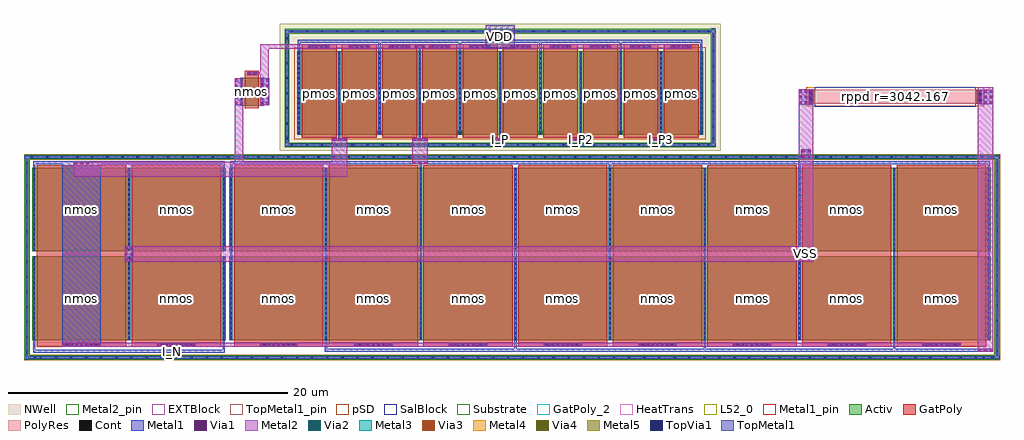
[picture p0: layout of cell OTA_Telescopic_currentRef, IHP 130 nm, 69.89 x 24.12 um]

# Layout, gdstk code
import gdstk
lib = gdstk.Library(unit=1e-6, precision=1e-09)
def R(c, l, rs):  # rectangles x0, y0, x1, y1
    for r in rs: c.add(gdstk.rectangle(r[:2], r[2:], *l))
def A(c, l, x, y, w, h, nx, ny, dx, dy):  # array of equal rectangles
    R(c, l, [(x+i*dx, y+j*dy, x+i*dx+w, y+j*dy+h) for i in range(nx) for j in range(ny)])
Activ = (1, 0)
GatPoly = (5, 0)
GatPoly_2 = (5, 2)
Cont = (6, 0)
Metal1 = (8, 0)
Metal1_pin = (8, 2)
Metal2 = (10, 0)
Metal2_pin = (10, 2)
pSD = (14, 0)
Via1 = (19, 0)
SalBlock = (28, 0)
Via2 = (29, 0)
Metal3 = (30, 0)
NWell = (31, 0)
Substrate = (40, 0)
Via3 = (49, 0)
Metal4 = (50, 0)
HeatTrans = (51, 0)
L52_0 = (52, 0)
Via4 = (66, 0)
Metal5 = (67, 0)
EXTBlock = (111, 0)
TopVia1 = (125, 0)
TopMetal1 = (126, 0)
TopMetal1_pin = (126, 2)
PolyRes = (128, 0)

ota_telescopic_currentre = lib.new_cell('OTA_Telescopic_currentRef')
A(ota_telescopic_currentre, Activ, 65.47, -5.17, 0.34, 1.08, 1, 13, 0, 1.08)
A(ota_telescopic_currentre, Activ, 66.1, -5.17, 1.08, 0.34, 63, 1, 1.08, 0)
A(ota_telescopic_currentre, Activ, 134.96, -5.08, 0.34, 1.08, 1, 13, 0, 1.08)
A(ota_telescopic_currentre, Activ, 66.03, -3.75, 0.3, 0.3, 3, 2, 6.78, 6.36)
A(ota_telescopic_currentre, Activ, 80.14, -3.75, 13.86, 6, 4, 2, 13.56, 6.36)
A(ota_telescopic_currentre, Activ, 80.14, -3.75, 0.3, 0.3, 3, 2, 6.78, 6.36)
A(ota_telescopic_currentre, Activ, 93.7, -3.75, 0.3, 0.3, 3, 2, 6.78, 6.36)
A(ota_telescopic_currentre, Activ, 107.26, -3.75, 0.3, 0.3, 3, 2, 6.78, 6.36)
A(ota_telescopic_currentre, Activ, 120.82, -3.75, 0.3, 0.3, 3, 2, 6.78, 6.36)
A(ota_telescopic_currentre, Activ, 65.47, 9.2, 1.08, 0.34, 64, 1, 1.08, 0)
A(ota_telescopic_currentre, Activ, 84.1, 10.05, 1.08, 0.34, 28, 2, 1.08, 8.14)
A(ota_telescopic_currentre, Activ, 84.1, 10.15, 0.34, 1.08, 1, 7, 0, 1.08)
A(ota_telescopic_currentre, Activ, 84.99, 10.94, 6.06, 6, 5, 1, 5.76, 0)
A(ota_telescopic_currentre, Activ, 84.99, 10.94, 0.3, 0.3, 3, 1, 2.88, 0)
A(ota_telescopic_currentre, Activ, 90.75, 10.94, 0.3, 0.3, 3, 1, 2.88, 0)
A(ota_telescopic_currentre, Activ, 96.51, 10.94, 0.3, 0.3, 3, 1, 2.88, 0)
A(ota_telescopic_currentre, Activ, 102.27, 10.94, 0.3, 0.3, 3, 1, 2.88, 0)
A(ota_telescopic_currentre, Activ, 108.03, 10.94, 0.3, 0.3, 3, 1, 2.88, 0)
A(ota_telescopic_currentre, Activ, 114.635, 11.015, 0.34, 1.08, 1, 7, 0, 1.08)
R(ota_telescopic_currentre, Activ, [(65.69,-5.17,66.77,-4.83), (133.62,-5.17,134.7,-4.83), (134.22,-5.17,135.3,-4.83), (66.03,-3.75,79.89,2.25), (66.03,2.61,79.89,8.61), (65.47,8.37,65.81,9.45), (134.96,8.37,135.3,9.45), (134.22,9.2,135.3,9.54), (113.9,10.05,114.98,10.39), (114.635,10.15,114.975,11.23), (80.915,13.045,81.215,13.345), (80.915,13.045,82.595,15.045), (82.295,13.045,82.595,13.345), (84.1,17.35,84.44,18.43), (113.9,18.19,114.98,18.53)])
A(ota_telescopic_currentre, GatPoly, 80.48, -4.23, 6.4, 0.3, 8, 1, 6.78, 0)
A(ota_telescopic_currentre, GatPoly, 82.51, -4.23, 2.34, 0.3, 8, 1, 6.78, 0)
A(ota_telescopic_currentre, GatPoly, 80.48, -3.93, 6.4, 6.36, 8, 2, 6.78, 6.36)
A(ota_telescopic_currentre, GatPoly, 85.33, 10.76, 2.5, 6.36, 3, 1, 2.88, 0)
A(ota_telescopic_currentre, GatPoly, 91.09, 10.76, 2.5, 6.36, 3, 1, 2.88, 0)
A(ota_telescopic_currentre, GatPoly, 96.85, 10.76, 2.5, 6.36, 3, 1, 2.88, 0)
A(ota_telescopic_currentre, GatPoly, 102.61, 10.76, 2.5, 6.36, 3, 1, 2.88, 0)
A(ota_telescopic_currentre, GatPoly, 85.33, 17.12, 2.5, 0.3, 10, 1, 2.88, 0)
A(ota_telescopic_currentre, GatPoly, 85.91, 17.12, 1.32, 0.3, 10, 1, 2.88, 0)
R(ota_telescopic_currentre, GatPoly, [(66.37,-4.23,72.77,-3.93), (68.4,-4.23,70.74,-3.93), (73.15,-4.23,79.55,-3.93), (75.18,-4.23,77.52,-3.93), (66.37,-3.93,72.77,2.43), (73.15,-3.93,79.55,2.43), (66.37,2.43,72.77,8.79), (73.15,2.43,79.55,8.79), (85.33,10.76,87.83,17.12), (108.37,10.76,110.87,17.12), (111.25,10.76,113.75,17.12), (81.255,12.865,82.255,15.225), (121.65,13.17,121.88,14.17), (121.88,13.17,122.08,14.17), (133.58,13.17,133.78,14.17), (133.78,13.17,134.01,14.17), (81.255,15.225,82.255,15.525), (81.45,15.225,82.09,15.525)])
A(ota_telescopic_currentre, GatPoly_2, 80.48, -3.93, 6.4, 6.36, 4, 2, 13.56, 6.36)
R(ota_telescopic_currentre, GatPoly_2, [(66.37,-3.93,72.77,2.43), (66.37,2.43,72.77,8.79), (81.255,12.865,82.255,15.225)])
A(ota_telescopic_currentre, Cont, 66.56, -5.08, 0.16, 0.16, 63, 1, 1.08, 0)
A(ota_telescopic_currentre, Cont, 65.56, -4.71, 0.16, 0.16, 1, 13, 0, 1.08)
A(ota_telescopic_currentre, Cont, 135.05, -4.62, 0.16, 0.16, 1, 13, 0, 1.08)
A(ota_telescopic_currentre, Cont, 68.47, -4.16, 0.16, 0.16, 7, 1, 0.34, 0)
A(ota_telescopic_currentre, Cont, 75.25, -4.16, 0.16, 0.16, 7, 1, 0.34, 0)
A(ota_telescopic_currentre, Cont, 82.58, -4.16, 0.16, 0.16, 7, 1, 0.34, 0)
A(ota_telescopic_currentre, Cont, 89.36, -4.16, 0.16, 0.16, 7, 1, 0.34, 0)
A(ota_telescopic_currentre, Cont, 96.14, -4.16, 0.16, 0.16, 7, 1, 0.34, 0)
A(ota_telescopic_currentre, Cont, 102.92, -4.16, 0.16, 0.16, 7, 1, 0.34, 0)
A(ota_telescopic_currentre, Cont, 109.7, -4.16, 0.16, 0.16, 7, 1, 0.34, 0)
A(ota_telescopic_currentre, Cont, 116.48, -4.16, 0.16, 0.16, 7, 1, 0.34, 0)
A(ota_telescopic_currentre, Cont, 123.26, -4.16, 0.16, 0.16, 7, 1, 0.34, 0)
A(ota_telescopic_currentre, Cont, 130.04, -4.16, 0.16, 0.16, 7, 1, 0.34, 0)
A(ota_telescopic_currentre, Cont, 66.1, -3.68, 0.16, 0.16, 3, 4, 6.78, 0.355)
A(ota_telescopic_currentre, Cont, 80.21, -3.68, 0.16, 0.16, 3, 4, 6.78, 0.355)
A(ota_telescopic_currentre, Cont, 93.77, -3.68, 0.16, 0.16, 3, 4, 6.78, 0.355)
A(ota_telescopic_currentre, Cont, 107.33, -3.68, 0.16, 0.16, 3, 4, 6.78, 0.355)
A(ota_telescopic_currentre, Cont, 120.89, -3.68, 0.16, 0.16, 3, 4, 6.78, 0.355)
A(ota_telescopic_currentre, Cont, 66.1, -2.255, 0.16, 0.16, 3, 4, 6.78, 0.355)
A(ota_telescopic_currentre, Cont, 80.21, -2.255, 0.16, 0.16, 3, 4, 6.78, 0.355)
A(ota_telescopic_currentre, Cont, 93.77, -2.255, 0.16, 0.16, 3, 4, 6.78, 0.355)
A(ota_telescopic_currentre, Cont, 107.33, -2.255, 0.16, 0.16, 3, 4, 6.78, 0.355)
A(ota_telescopic_currentre, Cont, 120.89, -2.255, 0.16, 0.16, 3, 4, 6.78, 0.355)
A(ota_telescopic_currentre, Cont, 66.1, -0.83, 0.16, 0.16, 3, 4, 6.78, 0.355)
A(ota_telescopic_currentre, Cont, 80.21, -0.83, 0.16, 0.16, 3, 4, 6.78, 0.355)
A(ota_telescopic_currentre, Cont, 93.77, -0.83, 0.16, 0.16, 3, 4, 6.78, 0.355)
A(ota_telescopic_currentre, Cont, 107.33, -0.83, 0.16, 0.16, 3, 4, 6.78, 0.355)
A(ota_telescopic_currentre, Cont, 120.89, -0.83, 0.16, 0.16, 3, 4, 6.78, 0.355)
A(ota_telescopic_currentre, Cont, 66.1, 0.595, 0.16, 0.16, 3, 4, 6.78, 0.355)
A(ota_telescopic_currentre, Cont, 80.21, 0.595, 0.16, 0.16, 3, 4, 6.78, 0.355)
A(ota_telescopic_currentre, Cont, 93.77, 0.595, 0.16, 0.16, 3, 4, 6.78, 0.355)
A(ota_telescopic_currentre, Cont, 107.33, 0.595, 0.16, 0.16, 3, 4, 6.78, 0.355)
A(ota_telescopic_currentre, Cont, 120.89, 0.595, 0.16, 0.16, 3, 4, 6.78, 0.355)
A(ota_telescopic_currentre, Cont, 66.1, 2.02, 0.16, 0.16, 3, 2, 6.78, 0.66)
A(ota_telescopic_currentre, Cont, 80.21, 2.02, 0.16, 0.16, 3, 2, 6.78, 0.66)
A(ota_telescopic_currentre, Cont, 93.77, 2.02, 0.16, 0.16, 3, 2, 6.78, 0.66)
A(ota_telescopic_currentre, Cont, 107.33, 2.02, 0.16, 0.16, 3, 2, 6.78, 0.66)
A(ota_telescopic_currentre, Cont, 120.89, 2.02, 0.16, 0.16, 3, 2, 6.78, 0.66)
A(ota_telescopic_currentre, Cont, 66.1, 3.035, 0.16, 0.16, 3, 3, 6.78, 0.355)
A(ota_telescopic_currentre, Cont, 80.21, 3.035, 0.16, 0.16, 3, 3, 6.78, 0.355)
A(ota_telescopic_currentre, Cont, 93.77, 3.035, 0.16, 0.16, 3, 3, 6.78, 0.355)
A(ota_telescopic_currentre, Cont, 107.33, 3.035, 0.16, 0.16, 3, 3, 6.78, 0.355)
A(ota_telescopic_currentre, Cont, 120.89, 3.035, 0.16, 0.16, 3, 3, 6.78, 0.355)
A(ota_telescopic_currentre, Cont, 66.1, 4.105, 0.16, 0.16, 3, 4, 6.78, 0.355)
A(ota_telescopic_currentre, Cont, 80.21, 4.105, 0.16, 0.16, 3, 4, 6.78, 0.355)
A(ota_telescopic_currentre, Cont, 93.77, 4.105, 0.16, 0.16, 3, 4, 6.78, 0.355)
A(ota_telescopic_currentre, Cont, 107.33, 4.105, 0.16, 0.16, 3, 4, 6.78, 0.355)
A(ota_telescopic_currentre, Cont, 120.89, 4.105, 0.16, 0.16, 3, 4, 6.78, 0.355)
A(ota_telescopic_currentre, Cont, 66.1, 5.53, 0.16, 0.16, 3, 4, 6.78, 0.355)
A(ota_telescopic_currentre, Cont, 80.21, 5.53, 0.16, 0.16, 3, 4, 6.78, 0.355)
A(ota_telescopic_currentre, Cont, 93.77, 5.53, 0.16, 0.16, 3, 4, 6.78, 0.355)
A(ota_telescopic_currentre, Cont, 107.33, 5.53, 0.16, 0.16, 3, 4, 6.78, 0.355)
A(ota_telescopic_currentre, Cont, 120.89, 5.53, 0.16, 0.16, 3, 4, 6.78, 0.355)
A(ota_telescopic_currentre, Cont, 66.1, 6.955, 0.16, 0.16, 3, 4, 6.78, 0.355)
A(ota_telescopic_currentre, Cont, 80.21, 6.955, 0.16, 0.16, 3, 4, 6.78, 0.355)
A(ota_telescopic_currentre, Cont, 93.77, 6.955, 0.16, 0.16, 3, 4, 6.78, 0.355)
A(ota_telescopic_currentre, Cont, 107.33, 6.955, 0.16, 0.16, 3, 4, 6.78, 0.355)
A(ota_telescopic_currentre, Cont, 120.89, 6.955, 0.16, 0.16, 3, 4, 6.78, 0.355)
A(ota_telescopic_currentre, Cont, 66.1, 8.38, 0.16, 0.16, 3, 1, 6.78, 0)
A(ota_telescopic_currentre, Cont, 80.21, 8.38, 0.16, 0.16, 3, 1, 6.78, 0)
A(ota_telescopic_currentre, Cont, 93.77, 8.38, 0.16, 0.16, 3, 1, 6.78, 0)
A(ota_telescopic_currentre, Cont, 107.33, 8.38, 0.16, 0.16, 3, 1, 6.78, 0)
A(ota_telescopic_currentre, Cont, 120.89, 8.38, 0.16, 0.16, 3, 1, 6.78, 0)
A(ota_telescopic_currentre, Cont, 65.93, 9.29, 0.16, 0.16, 64, 1, 1.08, 0)
A(ota_telescopic_currentre, Cont, 84.56, 10.14, 0.16, 0.16, 28, 2, 1.08, 8.14)
A(ota_telescopic_currentre, Cont, 84.19, 10.61, 0.16, 0.16, 1, 7, 0, 1.08)
A(ota_telescopic_currentre, Cont, 85.06, 11.01, 0.16, 0.16, 3, 4, 2.88, 0.355)
A(ota_telescopic_currentre, Cont, 90.82, 11.01, 0.16, 0.16, 3, 4, 2.88, 0.355)
A(ota_telescopic_currentre, Cont, 96.58, 11.01, 0.16, 0.16, 3, 4, 2.88, 0.355)
A(ota_telescopic_currentre, Cont, 102.34, 11.01, 0.16, 0.16, 3, 4, 2.88, 0.355)
A(ota_telescopic_currentre, Cont, 108.1, 11.01, 0.16, 0.16, 3, 4, 2.88, 0.355)
A(ota_telescopic_currentre, Cont, 114.725, 11.475, 0.16, 0.16, 1, 7, 0, 1.08)
A(ota_telescopic_currentre, Cont, 85.06, 12.435, 0.16, 0.16, 3, 4, 2.88, 0.355)
A(ota_telescopic_currentre, Cont, 90.82, 12.435, 0.16, 0.16, 3, 4, 2.88, 0.355)
A(ota_telescopic_currentre, Cont, 96.58, 12.435, 0.16, 0.16, 3, 4, 2.88, 0.355)
A(ota_telescopic_currentre, Cont, 102.34, 12.435, 0.16, 0.16, 3, 4, 2.88, 0.355)
A(ota_telescopic_currentre, Cont, 108.1, 12.435, 0.16, 0.16, 3, 4, 2.88, 0.355)
A(ota_telescopic_currentre, Cont, 80.985, 13.115, 0.16, 0.16, 1, 6, 0, 0.34)
A(ota_telescopic_currentre, Cont, 82.365, 13.115, 0.16, 0.16, 1, 6, 0, 0.34)
A(ota_telescopic_currentre, Cont, 85.06, 13.86, 0.16, 0.16, 3, 4, 2.88, 0.355)
A(ota_telescopic_currentre, Cont, 90.82, 13.86, 0.16, 0.16, 3, 4, 2.88, 0.355)
A(ota_telescopic_currentre, Cont, 96.58, 13.86, 0.16, 0.16, 3, 4, 2.88, 0.355)
A(ota_telescopic_currentre, Cont, 102.34, 13.86, 0.16, 0.16, 3, 4, 2.88, 0.355)
A(ota_telescopic_currentre, Cont, 108.1, 13.86, 0.16, 0.16, 3, 4, 2.88, 0.355)
A(ota_telescopic_currentre, Cont, 85.06, 15.285, 0.16, 0.16, 3, 4, 2.88, 0.355)
A(ota_telescopic_currentre, Cont, 90.82, 15.285, 0.16, 0.16, 3, 4, 2.88, 0.355)
A(ota_telescopic_currentre, Cont, 96.58, 15.285, 0.16, 0.16, 3, 4, 2.88, 0.355)
A(ota_telescopic_currentre, Cont, 102.34, 15.285, 0.16, 0.16, 3, 4, 2.88, 0.355)
A(ota_telescopic_currentre, Cont, 108.1, 15.285, 0.16, 0.16, 3, 4, 2.88, 0.355)
A(ota_telescopic_currentre, Cont, 85.06, 16.71, 0.16, 0.16, 3, 1, 2.88, 0)
A(ota_telescopic_currentre, Cont, 90.82, 16.71, 0.16, 0.16, 3, 1, 2.88, 0)
A(ota_telescopic_currentre, Cont, 96.58, 16.71, 0.16, 0.16, 3, 1, 2.88, 0)
A(ota_telescopic_currentre, Cont, 102.34, 16.71, 0.16, 0.16, 3, 1, 2.88, 0)
A(ota_telescopic_currentre, Cont, 108.1, 16.71, 0.16, 0.16, 3, 1, 2.88, 0)
A(ota_telescopic_currentre, Cont, 85.98, 17.19, 0.16, 0.16, 4, 1, 0.34, 0)
A(ota_telescopic_currentre, Cont, 88.86, 17.19, 0.16, 0.16, 4, 1, 0.34, 0)
A(ota_telescopic_currentre, Cont, 91.74, 17.19, 0.16, 0.16, 4, 1, 0.34, 0)
A(ota_telescopic_currentre, Cont, 94.62, 17.19, 0.16, 0.16, 4, 1, 0.34, 0)
A(ota_telescopic_currentre, Cont, 97.5, 17.19, 0.16, 0.16, 4, 1, 0.34, 0)
A(ota_telescopic_currentre, Cont, 100.38, 17.19, 0.16, 0.16, 4, 1, 0.34, 0)
A(ota_telescopic_currentre, Cont, 103.26, 17.19, 0.16, 0.16, 4, 1, 0.34, 0)
A(ota_telescopic_currentre, Cont, 106.14, 17.19, 0.16, 0.16, 4, 1, 0.34, 0)
A(ota_telescopic_currentre, Cont, 109.02, 17.19, 0.16, 0.16, 4, 1, 0.34, 0)
A(ota_telescopic_currentre, Cont, 111.9, 17.19, 0.16, 0.16, 4, 1, 0.34, 0)
R(ota_telescopic_currentre, Cont, [(66.15,-5.08,66.31,-4.92), (134.08,-5.08,134.24,-4.92), (134.68,-5.08,134.84,-4.92), (65.56,8.83,65.72,8.99), (135.05,8.83,135.21,8.99), (134.68,9.29,134.84,9.45), (114.36,10.14,114.52,10.3), (114.725,10.61,114.885,10.77), (121.72,13.24,121.88,14.1), (133.78,13.24,133.94,14.1), (81.52,15.295,81.68,15.455), (81.86,15.295,82.02,15.455), (84.19,17.81,84.35,17.97), (114.36,18.28,114.52,18.44)])
A(ota_telescopic_currentre, Metal1, 65.56, -5.17, 0.16, 1.08, 1, 13, 0, 1.08)
A(ota_telescopic_currentre, Metal1, 66.1, -5.08, 1.08, 0.16, 63, 1, 1.08, 0)
A(ota_telescopic_currentre, Metal1, 135.05, -5.08, 0.16, 1.08, 1, 13, 0, 1.08)
A(ota_telescopic_currentre, Metal1, 86.99, -4.365, 0.16, 0.615, 4, 1, 13.56, 0)
A(ota_telescopic_currentre, Metal1, 82.305, -4.185, 2.75, 0.21, 8, 1, 6.78, 0)
A(ota_telescopic_currentre, Metal1, 66.1, -3.75, 0.16, 6, 3, 2, 6.78, 6.36)
A(ota_telescopic_currentre, Metal1, 80.21, -3.75, 0.16, 6, 3, 2, 6.78, 6.36)
A(ota_telescopic_currentre, Metal1, 93.77, -3.75, 0.16, 6, 3, 2, 6.78, 6.36)
A(ota_telescopic_currentre, Metal1, 107.33, -3.75, 0.16, 6, 3, 2, 6.78, 6.36)
A(ota_telescopic_currentre, Metal1, 120.89, -3.75, 0.16, 6, 3, 2, 6.78, 6.36)
A(ota_telescopic_currentre, Metal1, 80.21, 2.25, 0.16, 0.36, 9, 1, 6.78, 0)
A(ota_telescopic_currentre, Metal1, 80.21, 8.61, 0.16, 0.22, 5, 1, 13.56, 0)
A(ota_telescopic_currentre, Metal1, 65.47, 9.29, 1.08, 0.16, 64, 1, 1.08, 0)
A(ota_telescopic_currentre, Metal1, 84.1, 10.14, 1.08, 0.16, 28, 2, 1.08, 8.14)
A(ota_telescopic_currentre, Metal1, 84.19, 10.15, 0.16, 1.08, 1, 7, 0, 1.08)
A(ota_telescopic_currentre, Metal1, 87.465, 10.51, 1.11, 0.21, 5, 1, 5.76, 0)
A(ota_telescopic_currentre, Metal1, 87.94, 10.72, 0.16, 0.22, 5, 1, 5.76, 0)
A(ota_telescopic_currentre, Metal1, 114.725, 11.015, 0.16, 1.08, 1, 7, 0, 1.08)
A(ota_telescopic_currentre, Metal1, 85.06, 16.94, 0.16, 0.615, 6, 1, 5.76, 0)
A(ota_telescopic_currentre, Metal1, 85.81, 17.165, 1.52, 0.21, 10, 1, 2.88, 0)
R(ota_telescopic_currentre, Metal1, [(65.69,-5.08,66.77,-4.92), (133.62,-5.08,134.7,-4.92), (134.22,-5.08,135.3,-4.92), (66.1,-4.67,79.82,-4.45), (86.99,-4.585,134.83,-4.365), (133.72,-4.58,134.83,-4.37), (66.1,-4.45,66.26,-3.75), (79.66,-4.45,79.82,-3.75), (68.195,-4.185,70.945,-3.975), (74.975,-4.185,77.725,-3.975), (68.195,-3.975,70.945,8.83), (72.65,1.875,73.27,2.985), (72.88,2.25,73.04,2.61), (65.56,8.37,65.72,9.45), (135.05,8.37,135.21,9.45), (66.1,8.61,66.26,8.83), (79.66,8.61,79.82,8.83), (66.1,8.83,79.82,9.05), (80.21,8.83,134.61,9.05), (69.015,8.835,70.125,9.045), (93.225,8.835,94.335,9.045), (121.095,9.29,121.795,9.91), (134.22,9.29,135.3,9.45), (113.9,10.14,114.98,10.3), (114.725,10.15,114.885,11.23), (85.06,10.94,85.22,16.94), (85.06,10.94,85.22,16.94), (87.94,10.94,88.1,16.94), (87.94,10.94,88.1,16.94), (90.82,10.94,90.98,16.94), (90.82,10.94,90.98,16.94), (90.82,10.94,90.98,16.94), (93.7,10.94,93.86,16.94), (93.7,10.94,93.86,16.94), (96.58,10.94,96.74,16.94), (96.58,10.94,96.74,16.94), (96.58,10.94,96.74,16.94), (99.46,10.94,99.62,16.94), (99.46,10.94,99.62,16.94), (102.34,10.94,102.5,16.94), (102.34,10.94,102.5,16.94), (102.34,10.94,102.5,16.94), (105.22,10.94,105.38,16.94), (105.22,10.94,105.38,16.94), (108.1,10.94,108.26,16.94), (108.1,10.94,108.26,16.94), (108.1,10.94,108.26,16.94), (110.98,10.94,111.14,16.94), (110.98,10.94,111.14,16.94), (113.86,10.94,114.02,16.94), (80.985,13.045,81.145,15.045), (82.365,13.045,82.525,15.045), (80.525,13.08,81.145,15.01), (82.365,13.08,82.985,15.01), (120.92,13.11,121.95,14.22), (133.72,13.15,134.83,14.18), (121.65,13.19,121.95,14.15), (133.71,13.19,134.01,14.15), (81.42,15.27,82.12,15.48), (93.7,16.94,93.86,17.375), (93.43,17.165,94.13,17.375), (84.19,17.35,84.35,18.43), (85.06,17.555,114.02,17.775), (98.78,17.66,100.3,18.28), (113.9,18.28,114.98,18.44)])
A(ota_telescopic_currentre, Metal1_pin, 65.56, -5.17, 0.16, 1.08, 1, 13, 0, 1.08)
A(ota_telescopic_currentre, Metal1_pin, 66.1, -5.08, 1.08, 0.16, 63, 1, 1.08, 0)
A(ota_telescopic_currentre, Metal1_pin, 135.05, -5.08, 0.16, 1.08, 1, 13, 0, 1.08)
A(ota_telescopic_currentre, Metal1_pin, 80.21, -3.75, 0.16, 6, 8, 2, 6.78, 6.36)
A(ota_telescopic_currentre, Metal1_pin, 65.47, 9.29, 1.08, 0.16, 64, 1, 1.08, 0)
A(ota_telescopic_currentre, Metal1_pin, 84.1, 10.14, 1.08, 0.16, 28, 2, 1.08, 8.14)
A(ota_telescopic_currentre, Metal1_pin, 84.19, 10.15, 0.16, 1.08, 1, 7, 0, 1.08)
A(ota_telescopic_currentre, Metal1_pin, 114.725, 11.015, 0.16, 1.08, 1, 7, 0, 1.08)
R(ota_telescopic_currentre, Metal1_pin, [(65.69,-5.08,66.77,-4.92), (133.62,-5.08,134.7,-4.92), (134.22,-5.08,135.3,-4.92), (76.05,-4.635,76.225,-4.485), (66.1,-3.75,66.26,2.25), (72.88,-3.75,73.04,2.25), (66.1,2.61,66.26,8.61), (72.88,2.61,73.04,8.61), (65.56,8.37,65.72,9.45), (135.05,8.37,135.21,9.45), (134.22,9.29,135.3,9.45), (113.9,10.14,114.98,10.3), (114.725,10.15,114.885,11.23), (80.985,13.045,81.145,15.045), (82.365,13.045,82.525,15.045), (121.65,13.19,121.95,14.15), (133.71,13.19,134.01,14.15), (84.19,17.35,84.35,18.43), (113.9,18.28,114.98,18.44)])
A(ota_telescopic_currentre, Metal2, 82.305, -4.18, 2.75, 0.2, 8, 1, 6.78, 0)
A(ota_telescopic_currentre, Metal2, 87.465, 10.515, 1.11, 0.2, 5, 1, 5.76, 0)
A(ota_telescopic_currentre, Metal2, 85.81, 17.17, 1.52, 0.2, 10, 1, 2.88, 0)
R(ota_telescopic_currentre, Metal2, [(133.72,-4.585,134.83,14.35), (133.72,-4.575,134.83,-4.375), (68.195,-4.23,132.515,-3.93), (68.195,-4.18,70.945,-3.98), (74.975,-4.18,77.725,-3.98), (72.65,1.875,121.945,2.985), (72.655,1.875,73.265,2.985), (120.92,1.875,121.945,13.11), (69.015,7.94,88.57,9.04), (87.465,7.94,88.575,10.515), (93.225,8.83,94.335,10.72), (69.015,8.84,70.125,9.04), (93.225,8.84,94.335,9.04), (80.53,9.04,81.14,13.08), (121.095,9.295,121.795,9.905), (80.53,13.08,81.14,15.01), (82.37,13.08,82.98,15.01), (120.925,13.11,121.945,14.22), (133.72,13.155,134.83,14.175), (82.37,15.01,82.98,17.42), (81.42,15.275,82.12,15.475), (82.12,15.275,82.37,15.475), (82.37,17.12,113.25,17.42), (93.43,17.17,94.13,17.37), (98.78,17.665,100.3,18.275)])
R(ota_telescopic_currentre, Metal2_pin, [(120.92,1.875,121.945,2.98), (99.475,10.52,99.665,10.71), (105.24,10.52,105.43,10.71), (111.015,10.52,111.205,10.71)])
A(ota_telescopic_currentre, pSD, 65.44, -5.2, 0.4, 1.14, 1, 13, 0, 1.08)
A(ota_telescopic_currentre, pSD, 66.07, -5.2, 1.14, 0.4, 63, 1, 1.08, 0)
A(ota_telescopic_currentre, pSD, 134.93, -5.11, 0.4, 1.14, 1, 13, 0, 1.08)
A(ota_telescopic_currentre, pSD, 65.44, 9.17, 1.14, 0.4, 64, 1, 1.08, 0)
A(ota_telescopic_currentre, pSD, 84.81, 10.64, 6.42, 6.6, 5, 1, 5.76, 0)
R(ota_telescopic_currentre, pSD, [(65.66,-5.2,66.8,-4.8), (133.59,-5.2,134.73,-4.8), (134.19,-5.2,135.33,-4.8), (65.44,8.34,65.84,9.48), (134.93,8.34,135.33,9.48), (134.19,9.17,135.33,9.57), (121.47,12.99,122.08,14.35), (122.08,12.99,133.58,14.35), (133.58,12.99,134.19,14.35)])
A(ota_telescopic_currentre, Via1, 133.77, -4.57, 0.19, 0.19, 3, 2, 0.41, 17.73)
A(ota_telescopic_currentre, Via1, 68.245, -4.175, 0.19, 0.19, 7, 1, 0.41, 0)
A(ota_telescopic_currentre, Via1, 75.025, -4.175, 0.19, 0.19, 7, 1, 0.41, 0)
A(ota_telescopic_currentre, Via1, 82.355, -4.175, 0.19, 0.19, 7, 1, 0.41, 0)
A(ota_telescopic_currentre, Via1, 89.135, -4.175, 0.19, 0.19, 7, 1, 0.41, 0)
A(ota_telescopic_currentre, Via1, 95.915, -4.175, 0.19, 0.19, 7, 1, 0.41, 0)
A(ota_telescopic_currentre, Via1, 102.695, -4.175, 0.19, 0.19, 7, 1, 0.41, 0)
A(ota_telescopic_currentre, Via1, 109.475, -4.175, 0.19, 0.19, 7, 1, 0.41, 0)
A(ota_telescopic_currentre, Via1, 116.255, -4.175, 0.19, 0.19, 7, 1, 0.41, 0)
A(ota_telescopic_currentre, Via1, 123.035, -4.175, 0.19, 0.19, 7, 1, 0.41, 0)
A(ota_telescopic_currentre, Via1, 129.815, -4.175, 0.19, 0.19, 7, 1, 0.41, 0)
A(ota_telescopic_currentre, Via1, 72.66, 1.925, 0.19, 0.19, 1, 3, 0, 0.41)
A(ota_telescopic_currentre, Via1, 73.07, 1.925, 0.19, 0.19, 1, 3, 0, 0.41)
A(ota_telescopic_currentre, Via1, 69.065, 8.845, 0.19, 0.19, 3, 1, 0.41, 0)
A(ota_telescopic_currentre, Via1, 93.275, 8.845, 0.19, 0.19, 3, 2, 0.41, 1.675)
A(ota_telescopic_currentre, Via1, 87.515, 10.52, 0.19, 0.19, 3, 1, 0.41, 0)
A(ota_telescopic_currentre, Via1, 99.035, 10.52, 0.19, 0.19, 3, 1, 0.41, 0)
A(ota_telescopic_currentre, Via1, 104.795, 10.52, 0.19, 0.19, 3, 1, 0.41, 0)
A(ota_telescopic_currentre, Via1, 110.555, 10.52, 0.19, 0.19, 3, 1, 0.41, 0)
A(ota_telescopic_currentre, Via1, 80.535, 13.13, 0.19, 0.19, 1, 5, 0, 0.41)
A(ota_telescopic_currentre, Via1, 80.945, 13.13, 0.19, 0.19, 1, 5, 0, 0.41)
A(ota_telescopic_currentre, Via1, 82.375, 13.13, 0.19, 0.19, 1, 5, 0, 0.41)
A(ota_telescopic_currentre, Via1, 82.785, 13.13, 0.19, 0.19, 1, 5, 0, 0.41)
A(ota_telescopic_currentre, Via1, 120.93, 13.16, 0.19, 0.19, 3, 3, 0.41, 0.41)
A(ota_telescopic_currentre, Via1, 133.77, 13.57, 0.19, 0.19, 3, 2, 0.41, 0.41)
A(ota_telescopic_currentre, Via1, 85.86, 17.175, 0.19, 0.19, 4, 1, 0.41, 0)
A(ota_telescopic_currentre, Via1, 88.74, 17.175, 0.19, 0.19, 4, 1, 0.41, 0)
A(ota_telescopic_currentre, Via1, 91.62, 17.175, 0.19, 0.19, 4, 1, 0.41, 0)
A(ota_telescopic_currentre, Via1, 94.5, 17.175, 0.19, 0.19, 4, 1, 0.41, 0)
A(ota_telescopic_currentre, Via1, 97.38, 17.175, 0.19, 0.19, 4, 1, 0.41, 0)
A(ota_telescopic_currentre, Via1, 100.26, 17.175, 0.19, 0.19, 4, 1, 0.41, 0)
A(ota_telescopic_currentre, Via1, 103.14, 17.175, 0.19, 0.19, 4, 1, 0.41, 0)
A(ota_telescopic_currentre, Via1, 106.02, 17.175, 0.19, 0.19, 4, 1, 0.41, 0)
A(ota_telescopic_currentre, Via1, 108.9, 17.175, 0.19, 0.19, 4, 1, 0.41, 0)
A(ota_telescopic_currentre, Via1, 111.78, 17.175, 0.19, 0.19, 4, 1, 0.41, 0)
A(ota_telescopic_currentre, Via1, 98.83, 17.67, 0.19, 0.19, 4, 2, 0.41, 0.41)
R(ota_telescopic_currentre, Via1, [(121.145,9.3,121.335,9.49), (121.555,9.3,121.745,9.49), (121.145,9.71,121.335,9.9), (121.555,9.71,121.745,9.9), (81.47,15.28,81.66,15.47), (81.88,15.28,82.07,15.47), (93.48,17.175,93.67,17.365), (93.89,17.175,94.08,17.365)])
R(ota_telescopic_currentre, SalBlock, [(122.08,12.97,133.58,14.37)])
A(ota_telescopic_currentre, Via2, 98.83, 17.67, 0.19, 0.19, 4, 2, 0.41, 0.41)
R(ota_telescopic_currentre, Metal3, [(98.78,17.665,100.3,18.275)])
A(ota_telescopic_currentre, NWell, 83.76, 9.81, 1.76, 0.82, 28, 2, 1.08, 8.14)
A(ota_telescopic_currentre, NWell, 83.86, 9.81, 0.82, 1.76, 1, 7, 0, 1.08)
A(ota_telescopic_currentre, NWell, 84.68, 10.63, 6.68, 6.62, 5, 1, 5.76, 0)
A(ota_telescopic_currentre, NWell, 114.395, 10.675, 0.82, 1.76, 1, 7, 0, 1.08)
R(ota_telescopic_currentre, NWell, [(83.76,9.81,115.32,18.915), (113.56,9.81,115.32,10.63), (114.395,9.81,115.215,11.57), (83.86,17.01,84.68,18.77), (113.56,17.95,115.32,18.77)])
A(ota_telescopic_currentre, Substrate, 90.75, 10.94, 0.3, 0.3, 5, 1, 5.76, 0)
A(ota_telescopic_currentre, Via3, 98.83, 17.67, 0.19, 0.19, 4, 2, 0.41, 0.41)
R(ota_telescopic_currentre, Metal4, [(98.78,17.665,100.3,18.275)])
A(ota_telescopic_currentre, HeatTrans, 80.48, -3.93, 6.4, 6.36, 8, 2, 6.78, 6.36)
A(ota_telescopic_currentre, HeatTrans, 85.33, 10.76, 2.5, 6.36, 10, 1, 2.88, 0)
R(ota_telescopic_currentre, HeatTrans, [(66.37,-3.93,72.77,2.43), (73.15,-3.93,79.55,2.43), (66.37,2.43,72.77,8.79), (73.15,2.43,79.55,8.79), (81.255,12.865,82.255,15.225)])
R(ota_telescopic_currentre, L52_0, [(122.08,13.17,133.58,14.17)])
A(ota_telescopic_currentre, Via4, 98.83, 17.67, 0.19, 0.19, 4, 2, 0.41, 0.41)
R(ota_telescopic_currentre, Metal5, [(98.78,17.66,100.3,18.28)])
R(ota_telescopic_currentre, EXTBlock, [(122.08,12.97,133.58,14.37), (121.47,12.99,122.08,14.35), (133.58,12.99,134.19,14.35)])
R(ota_telescopic_currentre, TopVia1, [(98.91,17.76,99.33,18.18), (99.75,17.76,100.17,18.18)])
R(ota_telescopic_currentre, TopMetal1, [(98.49,17.15,100.59,18.79)])
R(ota_telescopic_currentre, TopMetal1_pin, [(98.49,17.15,100.59,18.79)])
R(ota_telescopic_currentre, PolyRes, [(122.08,13.17,133.58,14.17)])
ota_telescopic_currentre.add(gdstk.Label('nmos', (81.755,14.045), layer=63, texttype=0))
ota_telescopic_currentre.add(gdstk.Label('pmos', (86.58,13.94), layer=63, texttype=0))
ota_telescopic_currentre.add(gdstk.Label('pmos', (92.34,13.94), layer=63, texttype=0))
ota_telescopic_currentre.add(gdstk.Label('pmos', (98.1,13.94), layer=63, texttype=0))
ota_telescopic_currentre.add(gdstk.Label('pmos', (103.86,13.94), layer=63, texttype=0))
ota_telescopic_currentre.add(gdstk.Label('pmos', (109.62,13.94), layer=63, texttype=0))
ota_telescopic_currentre.add(gdstk.Label('rppd r=3042.167', (127.83,13.67), layer=63, texttype=0))
ota_telescopic_currentre.add(gdstk.Label('nmos', (83.68,-0.75), layer=63, texttype=0))
ota_telescopic_currentre.add(gdstk.Label('nmos', (83.68,5.61), layer=63, texttype=0))
ota_telescopic_currentre.add(gdstk.Label('nmos', (97.24,-0.75), layer=63, texttype=0))
ota_telescopic_currentre.add(gdstk.Label('nmos', (97.24,5.61), layer=63, texttype=0))
ota_telescopic_currentre.add(gdstk.Label('nmos', (110.8,-0.75), layer=63, texttype=0))
ota_telescopic_currentre.add(gdstk.Label('nmos', (110.8,5.61), layer=63, texttype=0))
ota_telescopic_currentre.add(gdstk.Label('nmos', (124.36,-0.75), layer=63, texttype=0))
ota_telescopic_currentre.add(gdstk.Label('nmos', (124.36,5.61), layer=63, texttype=0))
ota_telescopic_currentre.add(gdstk.Label('nmos', (69.57,5.61), layer=63, texttype=0))
ota_telescopic_currentre.add(gdstk.Label('nmos', (69.57,-0.75), layer=63, texttype=0))
ota_telescopic_currentre.add(gdstk.Label('nmos', (81.755,14.045), layer=51, texttype=0))
ota_telescopic_currentre.add(gdstk.Label('pmos', (86.58,13.94), layer=51, texttype=0))
ota_telescopic_currentre.add(gdstk.Label('pmos', (89.46,13.94), layer=51, texttype=0))
ota_telescopic_currentre.add(gdstk.Label('pmos', (92.34,13.94), layer=51, texttype=0))
ota_telescopic_currentre.add(gdstk.Label('pmos', (95.22,13.94), layer=51, texttype=0))
ota_telescopic_currentre.add(gdstk.Label('pmos', (98.1,13.94), layer=51, texttype=0))
ota_telescopic_currentre.add(gdstk.Label('pmos', (100.98,13.94), layer=51, texttype=0))
ota_telescopic_currentre.add(gdstk.Label('pmos', (103.86,13.94), layer=51, texttype=0))
ota_telescopic_currentre.add(gdstk.Label('pmos', (106.74,13.94), layer=51, texttype=0))
ota_telescopic_currentre.add(gdstk.Label('pmos', (109.62,13.94), layer=51, texttype=0))
ota_telescopic_currentre.add(gdstk.Label('pmos', (112.5,13.94), layer=51, texttype=0))
ota_telescopic_currentre.add(gdstk.Label('nmos', (83.68,-0.75), layer=51, texttype=0))
ota_telescopic_currentre.add(gdstk.Label('nmos', (90.46,-0.75), layer=51, texttype=0))
ota_telescopic_currentre.add(gdstk.Label('nmos', (83.68,5.61), layer=51, texttype=0))
ota_telescopic_currentre.add(gdstk.Label('nmos', (90.46,5.61), layer=51, texttype=0))
ota_telescopic_currentre.add(gdstk.Label('nmos', (97.24,-0.75), layer=51, texttype=0))
ota_telescopic_currentre.add(gdstk.Label('nmos', (104.02,-0.75), layer=51, texttype=0))
ota_telescopic_currentre.add(gdstk.Label('nmos', (97.24,5.61), layer=51, texttype=0))
ota_telescopic_currentre.add(gdstk.Label('nmos', (104.02,5.61), layer=51, texttype=0))
ota_telescopic_currentre.add(gdstk.Label('nmos', (110.8,-0.75), layer=51, texttype=0))
ota_telescopic_currentre.add(gdstk.Label('nmos', (117.58,-0.75), layer=51, texttype=0))
ota_telescopic_currentre.add(gdstk.Label('nmos', (110.8,5.61), layer=51, texttype=0))
ota_telescopic_currentre.add(gdstk.Label('nmos', (117.58,5.61), layer=51, texttype=0))
ota_telescopic_currentre.add(gdstk.Label('nmos', (124.36,-0.75), layer=51, texttype=0))
ota_telescopic_currentre.add(gdstk.Label('nmos', (131.14,-0.75), layer=51, texttype=0))
ota_telescopic_currentre.add(gdstk.Label('nmos', (124.36,5.61), layer=51, texttype=0))
ota_telescopic_currentre.add(gdstk.Label('nmos', (131.14,5.61), layer=51, texttype=0))
ota_telescopic_currentre.add(gdstk.Label('nmos', (69.57,5.61), layer=51, texttype=0))
ota_telescopic_currentre.add(gdstk.Label('nmos', (76.35,5.61), layer=51, texttype=0))
ota_telescopic_currentre.add(gdstk.Label('nmos', (69.57,-0.75), layer=51, texttype=0))
ota_telescopic_currentre.add(gdstk.Label('nmos', (76.35,-0.75), layer=51, texttype=0))
ota_telescopic_currentre.add(gdstk.Label('rppd', (127.83,13.67), layer=52, texttype=0))
ota_telescopic_currentre.add(gdstk.Label('VDD', (99.485,18.015), layer=126, texttype=25))
ota_telescopic_currentre.add(gdstk.Label('VSS', (121.42,2.43), layer=10, texttype=25))
ota_telescopic_currentre.add(gdstk.Label('I_P', (99.57,10.615), layer=10, texttype=25))
ota_telescopic_currentre.add(gdstk.Label('I_P2', (105.335,10.615), layer=10, texttype=25))
ota_telescopic_currentre.add(gdstk.Label('I_P3', (111.11,10.615), layer=10, texttype=25))
ota_telescopic_currentre.add(gdstk.Label('I_N', (76.095,-4.58), layer=8, texttype=25))

lib.write_gds('OTA_Telescopic_currentRef.gds')
